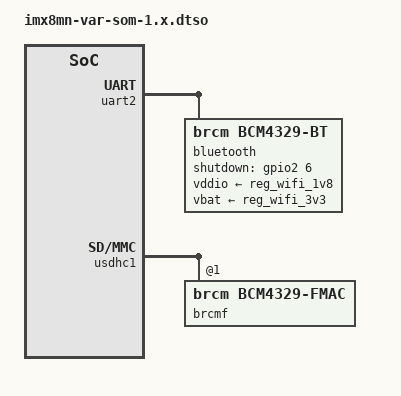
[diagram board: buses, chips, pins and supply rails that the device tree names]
// SPDX-License-Identifier: (GPL-2.0+ OR MIT)
/*
 * Device tree overlay to support the VAR-SOM-MX8M-NANO V1.x
 *
 * Copyright 2025 Variscite Ltd.
 */

/dts-v1/;
/plugin/;

#include "imx8mn-pinfunc.h"
#include <dt-bindings/gpio/gpio.h>

&bluetooth_iw61x {
	status = "disabled";
};

&bt_en_hog {
    status = "disabled";
};

&uart2 {
	bluetooth {
                compatible = "brcm,bcm4329-bt";
                pinctrl-names = "default";
                pinctrl-0 = <&pinctrl_bt_en>;
                clocks = <&osc_32k>;
                clock-names = "txco";
                max-speed = <3000000>;
                vddio-supply = <&reg_wifi_1v8>;
                vbat-supply = <&reg_wifi_3v3>;
                shutdown-gpios = <&gpio2 6 GPIO_ACTIVE_HIGH>;
                brcm,bt-pcm-int-params = [01 00 00 00 00];
        };
};

/* WIFI */
&usdhc1 {
	#address-cells = <1>;
	#size-cells = <0>;

	brcmf: bcrmf@1 {
		reg = <1>;
		compatible = "brcm,bcm4329-fmac";
	};
};
